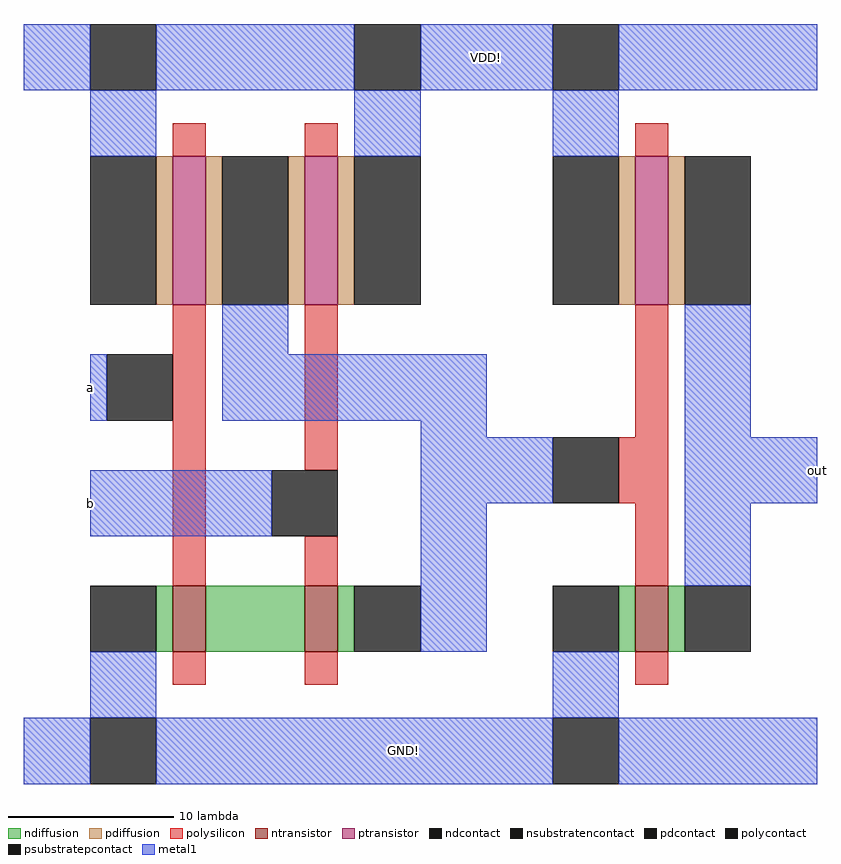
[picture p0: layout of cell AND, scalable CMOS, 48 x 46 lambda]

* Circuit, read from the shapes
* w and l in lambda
.subckt AND GND! VDD! a b out
M1 n1 a GND! GND! nfet w=4 l=2
M2 n2 b n1 GND! nfet w=4 l=2
M3 out n2 GND! GND! nfet w=4 l=2
M4 n2 a VDD! VDD! pfet w=9 l=2
M5 VDD! b n2 VDD! pfet w=9 l=2
M6 out n2 VDD! VDD! pfet w=9 l=2
.ends

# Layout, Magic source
magic
tech scmos
<< ntransistor >>
rect 47 3 49 7
rect 55 3 57 7
rect 75 3 77 7
<< ptransistor >>
rect 47 24 49 33
rect 55 24 57 33
rect 75 24 77 33
<< ndiffusion >>
rect 46 3 47 7
rect 49 3 55 7
rect 57 3 58 7
rect 74 3 75 7
rect 77 3 78 7
<< pdiffusion >>
rect 46 24 47 33
rect 49 24 50 33
rect 54 24 55 33
rect 57 24 58 33
rect 74 24 75 33
rect 77 24 78 33
<< ndcontact >>
rect 42 3 46 7
rect 58 3 62 7
rect 70 3 74 7
rect 78 3 82 7
<< pdcontact >>
rect 42 24 46 33
rect 50 24 54 33
rect 58 24 62 33
rect 70 24 74 33
rect 78 24 82 33
<< psubstratepcontact >>
rect 42 -5 46 -1
rect 70 -5 74 -1
<< nsubstratencontact >>
rect 42 37 46 41
rect 58 37 62 41
rect 70 37 74 41
<< polysilicon >>
rect 47 33 49 35
rect 55 33 57 35
rect 75 33 77 35
rect 47 7 49 24
rect 55 14 57 24
rect 75 16 77 24
rect 74 12 77 16
rect 55 7 57 10
rect 75 7 77 12
rect 47 1 49 3
rect 55 1 57 3
rect 75 1 77 3
<< polycontact >>
rect 43 17 47 21
rect 53 10 57 14
rect 70 12 74 16
<< metal1 >>
rect 38 37 42 41
rect 46 37 58 41
rect 62 37 70 41
rect 74 37 86 41
rect 42 33 46 37
rect 58 33 62 37
rect 70 33 74 37
rect 50 21 54 24
rect 42 17 43 21
rect 50 17 66 21
rect 62 16 66 17
rect 78 16 82 24
rect 42 10 53 14
rect 62 12 70 16
rect 78 12 86 16
rect 62 3 66 12
rect 78 7 82 12
rect 42 -1 46 3
rect 70 -1 74 3
rect 38 -5 42 -1
rect 46 -5 70 -1
rect 74 -5 86 -1
<< labels >>
rlabel metal1 42 17 42 21 3 a
rlabel metal1 42 10 42 14 3 b
rlabel metal1 86 12 86 16 7 out
rlabel metal1 61 -3 61 -3 1 GND!
rlabel metal1 66 39 66 39 5 VDD!
<< end >>
